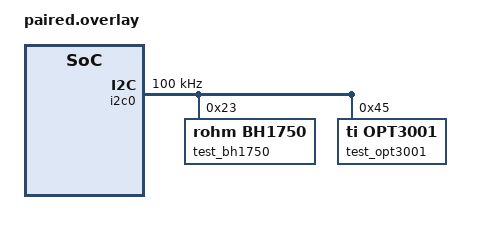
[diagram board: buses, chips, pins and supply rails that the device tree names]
/* Build-only external accessories at their stock addresses with native drivers. */
/ { aliases { zt-environment = &test_bh1750; zt-environment-2 = &test_opt3001; }; };
&i2c0 {
    status = "okay";
    clock-frequency = <100000>;
    test_bh1750: light@23 { compatible = "rohm,bh1750"; reg = <0x23>; resolution = <1>; mtreg = <69>; };
    test_opt3001: light@45 { compatible = "ti,opt3001"; reg = <0x45>; };
};
